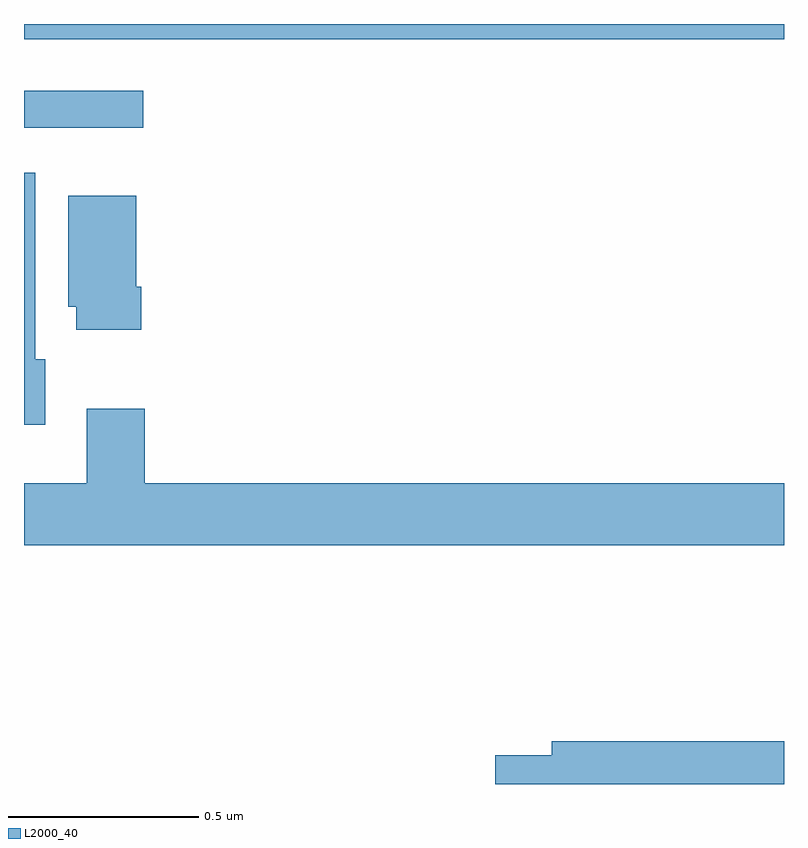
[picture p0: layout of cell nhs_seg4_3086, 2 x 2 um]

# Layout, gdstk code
import gdstk
lib = gdstk.Library(unit=1e-6, precision=1e-09)
def R(c, l, rs):  # rectangles x0, y0, x1, y1
    for r in rs: c.add(gdstk.rectangle(r[:2], r[2:], *l))
def P(c, l, *ps):  # polygons
    for p in ps: c.add(gdstk.Polygon(p, *l))
L2000_40 = (2000, 40)

nhs_seg4_3086 = lib.new_cell('nhs_seg4_3086')
R(nhs_seg4_3086, L2000_40, [(149,756.627,149.314,756.724), (149,756.86,151,756.9)])
P(nhs_seg4_3086, L2000_40, [(149.056,756.018),(149.029,756.018),(149.029,756.508),(149,756.508),(149,755.846),(149.056,755.846)],
  [(149.309,756.208),(149.296,756.208),(149.296,756.448),(149.117,756.448),(149.117,756.156),(149.138,756.156),(149.138,756.096),(149.309,756.096)],
  [(151,755.692),(149.318,755.692),(149.318,755.887),(149.165,755.887),(149.165,755.692),(149,755.692),(149,755.528),(151,755.528)],
  [(151,755.012),(150.389,755.012),(150.389,754.976),(150.24,754.976),(150.24,754.9),(151,754.9)])

lib.write_gds('nhs_seg4_3086.gds')
